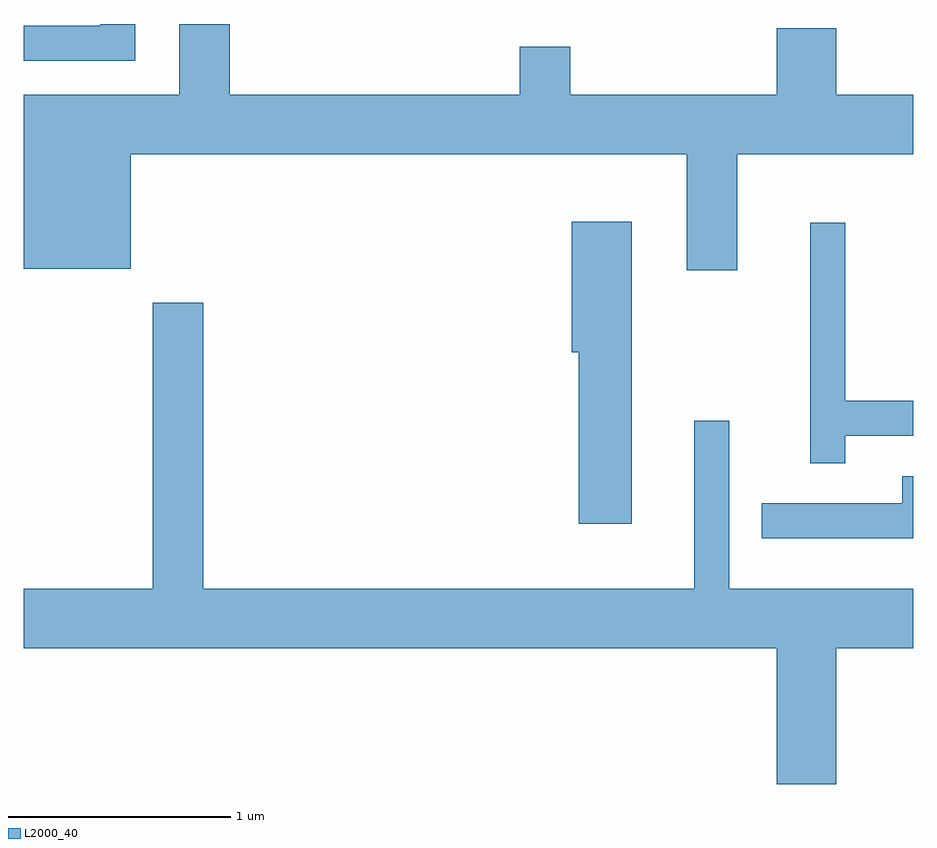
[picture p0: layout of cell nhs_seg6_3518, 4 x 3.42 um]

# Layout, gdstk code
import gdstk
lib = gdstk.Library(unit=1e-6, precision=1e-09)
def P(c, l, *ps):  # polygons
    for p in ps: c.add(gdstk.Polygon(p, *l))
L2000_40 = (2000, 40)

nhs_seg6_3518 = lib.new_cell('nhs_seg6_3518')
P(nhs_seg6_3518, L2000_40, [(294.819,1565.576),(295.611,1565.576),(295.611,1565.844),(295.264,1565.844),(295.264,1566.144),(294.996,1566.144),(294.996,1565.844),(294.069,1565.844),(294.069,1566.059),(293.841,1566.059),(293.841,1565.844),(292.539,1565.844),(292.539,1566.162),(292.311,1566.162),(292.311,1565.844),(291.611,1565.844),(291.611,1565.061),(292.094,1565.061),(292.094,1565.576),(294.591,1565.576),(294.591,1565.056),(294.819,1565.056)],
  [(292.114,1566.162),(291.956,1566.162),(291.956,1566.154),(291.611,1566.154),(291.611,1565.996),(292.114,1565.996)],
  [(294.344,1565.274),(294.076,1565.274),(294.076,1564.686),(294.106,1564.686),(294.106,1563.916),(294.344,1563.916)],
  [(295.304,1564.311),(295.611,1564.311),(295.611,1564.469),(295.304,1564.469),(295.304,1565.268),(295.146,1565.268),(295.146,1564.188),(295.304,1564.188)],
  [(295.264,1563.356),(295.611,1563.356),(295.611,1563.624),(294.784,1563.624),(294.784,1564.378),(294.626,1564.378),(294.626,1563.624),(292.419,1563.624),(292.419,1564.909),(292.191,1564.909),(292.191,1563.624),(291.611,1563.624),(291.611,1563.356),(294.996,1563.356),(294.996,1562.746),(295.264,1562.746)],
  [(295.611,1564.129),(295.561,1564.129),(295.561,1564.009),(294.928,1564.009),(294.928,1563.851),(295.611,1563.851)])

lib.write_gds('nhs_seg6_3518.gds')
